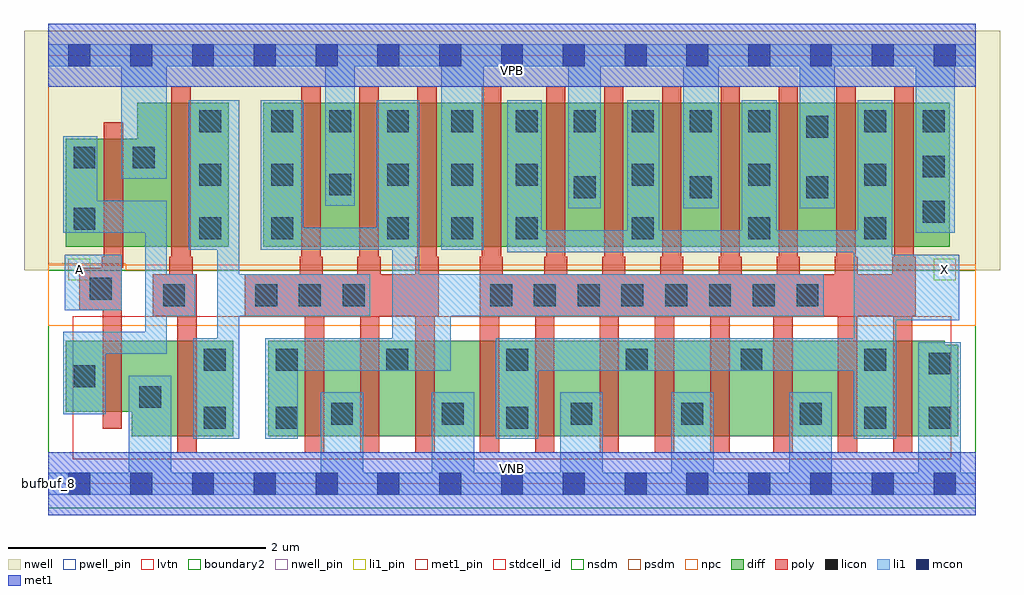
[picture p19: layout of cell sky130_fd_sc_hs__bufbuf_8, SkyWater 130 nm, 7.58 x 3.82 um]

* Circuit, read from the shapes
.subckt sky130_fd_sc_hs__bufbuf_8 A VGND VNB VPB VPWR X
XM1 VGND A n1 VNB sky130_fd_pr__nfet_01v8_lvt w=0.55 l=0.15
XM2 n2 n1 VGND VNB sky130_fd_pr__nfet_01v8_lvt w=0.74 l=0.15
XM3 VGND n2 n3 VNB sky130_fd_pr__nfet_01v8_lvt w=0.74 l=0.15 m=3
XM4 X n3 VGND VNB sky130_fd_pr__nfet_01v8_lvt w=0.74 l=0.15 m=8
XM5 VPWR A n1 VPB sky130_fd_pr__pfet_01v8 w=0.84 l=0.15
XM6 n2 n1 VPWR VPB sky130_fd_pr__pfet_01v8 w=1.12 l=0.15
XM7 VPWR n2 n3 VPB sky130_fd_pr__pfet_01v8 w=1.12 l=0.15 m=3
XM8 X n3 VPWR VPB sky130_fd_pr__pfet_01v8 w=1.12 l=0.15 m=8
.ends

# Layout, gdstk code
import gdstk
lib = gdstk.Library(unit=1e-6, precision=1e-09)
def R(c, l, rs):  # rectangles x0, y0, x1, y1
    for r in rs: c.add(gdstk.rectangle(r[:2], r[2:], *l))
def A(c, l, x, y, w, h, nx, ny, dx, dy):  # array of equal rectangles
    R(c, l, [(x+i*dx, y+j*dy, x+i*dx+w, y+j*dy+h) for i in range(nx) for j in range(ny)])
def P(c, l, *ps):  # polygons
    for p in ps: c.add(gdstk.Polygon(p, *l))
nwell_pin = (64, 16)
nwell = (64, 20)
diff = (65, 20)
poly = (66, 20)
licon = (66, 44)
li1_pin = (67, 16)
li1 = (67, 20)
mcon = (67, 44)
met1_pin = (68, 16)
met1 = (68, 20)
stdcell_id = (81, 4)
nsdm = (93, 44)
psdm = (94, 20)
npc = (95, 20)
pwell_pin = (122, 16)
lvtn = (125, 44)
boundary2 = (236, 0)

sky130_fd_sc_hs__bufbuf_ = lib.new_cell('sky130_fd_sc_hs__bufbuf_8')
R(sky130_fd_sc_hs__bufbuf_, nwell_pin, [(0,3.085,7.2,3.33)])
R(sky130_fd_sc_hs__bufbuf_, nwell, [(-0.19,1.66,7.39,3.52)])
R(sky130_fd_sc_hs__bufbuf_, diff, [(1.67,1.84,7,2.96)])
P(sky130_fd_sc_hs__bufbuf_, diff, [(1.4,2.96),(0.69,2.96),(0.69,2.68),(0.135,2.68),(0.135,1.84),(1.4,1.84)],
  [(1.435,1.11),(0.135,1.11),(0.135,0.56),(0.645,0.56),(0.645,0.37),(1.435,0.37)],
  [(7.065,1.08),(6.96,1.08),(6.96,1.11),(1.705,1.11),(1.705,0.37),(7.065,0.37)])
P(sky130_fd_sc_hs__bufbuf_, poly, [(0.58,2.81),(0.43,2.81),(0.43,1.765),(0.415,1.765),(0.415,1.68),(0.24,1.68),(0.24,1.35),(0.42,1.35),(0.42,0.43),(0.57,0.43),(0.57,1.68),(0.58,1.68)],
  [(1.15,1.63),(1.12,1.63),(1.12,1.765),(1.105,1.765),(1.105,3.09),(0.955,3.09),(0.955,1.765),(0.94,1.765),(0.94,1.63),(0.81,1.63),(0.81,1.3),(1,1.3),(1,0.24),(1.15,0.24)],
  [(3.03,1.765),(3.015,1.765),(3.015,3.09),(2.865,3.09),(2.865,1.765),(2.85,1.765),(2.85,1.63),(2.58,1.63),(2.58,1.765),(2.565,1.765),(2.565,3.09),(2.415,3.09),(2.415,1.765),(2.4,1.765),(2.4,1.63),(2.13,1.63),(2.13,1.765),(2.115,1.765),(2.115,3.09),(1.965,3.09),(1.965,1.765),(1.95,1.765),(1.95,1.63),(1.525,1.63),(1.525,1.3),(1.99,1.3),(1.99,0.24),(2.14,0.24),(2.14,1.3),(2.42,1.3),(2.42,0.24),(2.57,0.24),(2.57,1.3),(2.85,1.3),(2.85,0.24),(3,0.24),(3,1.3),(3.03,1.3)],
  [(6.735,1.765),(6.72,1.765),(6.72,3.09),(6.57,3.09),(6.57,1.765),(6.555,1.765),(6.555,1.63),(6.285,1.63),(6.285,1.765),(6.27,1.765),(6.27,3.09),(6.12,3.09),(6.12,1.765),(6.105,1.765),(6.105,1.63),(5.835,1.63),(5.835,1.765),(5.82,1.765),(5.82,3.09),(5.67,3.09),(5.67,1.765),(5.655,1.765),(5.655,1.63),(5.385,1.63),(5.385,1.765),(5.37,1.765),(5.37,3.09),(5.22,3.09),(5.22,1.765),(5.205,1.765),(5.205,1.63),(4.93,1.63),(4.93,1.765),(4.915,1.765),(4.915,3.09),(4.765,3.09),(4.765,1.765),(4.75,1.765),(4.75,1.63),(4.48,1.63),(4.48,1.765),(4.465,1.765),(4.465,3.09),(4.315,3.09),(4.315,1.765),(4.3,1.765),(4.3,1.63),(4.03,1.63),(4.03,1.765),(4.015,1.765),(4.015,3.09),(3.865,3.09),(3.865,1.765),(3.85,1.765),(3.85,1.63),(3.53,1.63),(3.53,1.765),(3.515,1.765),(3.515,3.09),(3.365,3.09),(3.365,1.765),(3.35,1.765),(3.35,0.24),(3.5,0.24),(3.5,1.3),(3.78,1.3),(3.78,0.24),(3.93,0.24),(3.93,1.3),(4.28,1.3),(4.28,0.24),(4.43,0.24),(4.43,1.3),(4.71,1.3),(4.71,0.24),(4.86,0.24),(4.86,1.3),(5.14,1.3),(5.14,0.24),(5.29,0.24),(5.29,1.3),(5.63,1.3),(5.63,0.24),(5.78,0.24),(5.78,1.3),(6.13,1.3),(6.13,0.24),(6.28,0.24),(6.28,1.3),(6.56,1.3),(6.56,0.24),(6.71,0.24),(6.71,1.3),(6.735,1.3)])
A(sky130_fd_sc_hs__bufbuf_, licon, 2.625, 0.88, 0.17, 0.17, 3, 1, 0.93, 0)
A(sky130_fd_sc_hs__bufbuf_, licon, 1.605, 1.38, 0.17, 0.17, 3, 1, 0.34, 0)
A(sky130_fd_sc_hs__bufbuf_, licon, 3.43, 1.38, 0.17, 0.17, 8, 1, 0.34, 0)
A(sky130_fd_sc_hs__bufbuf_, licon, 1.17, 1.9, 0.17, 0.17, 1, 3, 0, 0.415)
A(sky130_fd_sc_hs__bufbuf_, licon, 2.63, 1.9, 0.17, 0.17, 3, 2, 0.5, 0.415)
A(sky130_fd_sc_hs__bufbuf_, licon, 5.435, 1.9, 0.17, 0.17, 1, 3, 0, 0.415)
A(sky130_fd_sc_hs__bufbuf_, licon, 6.335, 1.9, 0.17, 0.17, 1, 3, 0, 0.415)
A(sky130_fd_sc_hs__bufbuf_, licon, 6.79, 2.03, 0.17, 0.17, 1, 3, 0, 0.35)
A(sky130_fd_sc_hs__bufbuf_, licon, 1.73, 2.73, 0.17, 0.17, 3, 1, 0.45, 0)
A(sky130_fd_sc_hs__bufbuf_, licon, 3.63, 2.73, 0.17, 0.17, 4, 1, 0.45, 0)
R(sky130_fd_sc_hs__bufbuf_, licon, [(1.205,0.43,1.375,0.6), (1.765,0.43,1.935,0.6), (3.555,0.43,3.725,0.6), (6.335,0.43,6.505,0.6), (6.835,0.43,7.005,0.6), (2.195,0.46,2.365,0.63), (3.055,0.46,3.225,0.63), (4.055,0.46,4.225,0.63), (4.915,0.46,5.085,0.63), (5.835,0.46,6.005,0.63), (0.705,0.59,0.875,0.76), (0.195,0.75,0.365,0.92), (6.835,0.85,7.005,1.02), (1.205,0.88,1.375,1.05), (1.765,0.88,1.935,1.05), (5.375,0.88,5.545,1.05), (6.335,0.88,6.505,1.05), (0.89,1.38,1.06,1.55), (0.32,1.43,0.49,1.6), (1.73,1.9,1.9,2.07), (4.53,1.9,4.7,2.07), (0.195,1.975,0.365,2.145), (4.08,2.22,4.25,2.39), (4.98,2.22,5.15,2.39), (5.885,2.22,6.055,2.39), (2.18,2.24,2.35,2.41), (1.73,2.315,1.9,2.485), (4.53,2.315,4.7,2.485), (0.195,2.45,0.365,2.62), (0.655,2.45,0.825,2.62), (5.885,2.69,6.055,2.86), (3.13,2.73,3.3,2.9)])
R(sky130_fd_sc_hs__bufbuf_, li1_pin, [(0.155,1.58,0.325,1.75), (6.875,1.58,7.045,1.75)])
R(sky130_fd_sc_hs__bufbuf_, li1, [(0.125,1.35,0.57,1.78)])
P(sky130_fd_sc_hs__bufbuf_, li1, [(6.735,1.95),(6.735,3.245),(6.105,3.245),(6.105,2.14),(5.835,2.14),(5.835,3.245),(5.205,3.245),(5.205,2.14),(4.93,2.14),(4.93,3.245),(4.29,3.245),(4.29,2.14),(4.035,2.14),(4.035,3.245),(3.38,3.245),(3.38,1.82),(3.05,1.82),(3.05,3.245),(2.38,3.245),(2.38,2.16),(2.15,2.16),(2.15,3.245),(0.92,3.245),(0.92,2.37),(0.565,2.37),(0.565,3.245),(0,3.245),(0,3.415),(7.2,3.415),(7.2,3.245),(7.04,3.245),(7.04,1.95)],
  [(6.755,0.085),(6.755,1.1),(7.085,1.1),(7.085,0.085),(7.2,0.085),(7.2,-0.085),(0,-0.085),(0,0.085),(0.625,0.085),(0.625,0.84),(0.955,0.84),(0.955,0.085),(2.115,0.085),(2.115,0.71),(2.445,0.71),(2.445,0.085),(2.975,0.085),(2.975,0.71),(3.305,0.71),(3.305,0.085),(3.975,0.085),(3.975,0.71),(4.305,0.71),(4.305,0.085),(4.835,0.085),(4.835,0.71),(5.165,0.71),(5.165,0.085),(5.755,0.085),(5.755,0.71),(6.085,0.71),(6.085,0.085)],
  [(1.48,1.63),(2.5,1.63),(2.5,1.3),(1.48,1.3),(1.48,0.35),(1.125,0.35),(1.125,1.13),(1.31,1.13),(1.31,1.82),(1.09,1.82),(1.09,2.98),(1.48,2.98)],
  [(7.075,1.27),(6.585,1.27),(6.585,0.35),(6.255,0.35),(6.255,0.88),(3.805,0.88),(3.805,0.35),(3.475,0.35),(3.475,1.13),(6.255,1.13),(6.255,1.8),(3.565,1.8),(3.565,2.98),(3.83,2.98),(3.83,1.97),(4.495,1.97),(4.495,2.98),(4.745,2.98),(4.745,1.97),(5.385,1.97),(5.385,2.98),(5.655,2.98),(5.655,1.97),(6.285,1.97),(6.285,2.98),(6.555,2.98),(6.555,1.78),(7.075,1.78)],
  [(1.685,0.35),(1.685,1.13),(2.67,1.13),(2.67,1.82),(1.65,1.82),(1.65,2.98),(1.98,2.98),(1.98,1.99),(2.55,1.99),(2.55,2.98),(2.88,2.98),(2.88,1.63),(6.02,1.63),(6.02,1.3),(3.125,1.3),(3.125,0.88),(1.935,0.88),(1.935,0.35)],
  [(1.14,1.63),(0.92,1.63),(0.92,2.2),(0.38,2.2),(0.38,2.7),(0.115,2.7),(0.115,1.95),(0.75,1.95),(0.75,1.18),(0.115,1.18),(0.115,0.54),(0.445,0.54),(0.445,1.01),(0.92,1.01),(0.92,1.3),(1.14,1.3)])
A(sky130_fd_sc_hs__bufbuf_, mcon, 0.155, -0.085, 0.17, 0.17, 15, 2, 0.48, 3.33)
R(sky130_fd_sc_hs__bufbuf_, met1_pin, [(0,0,7.2,0.245), (0,3.085,7.2,3.33)])
R(sky130_fd_sc_hs__bufbuf_, met1, [(0,-0.245,7.2,0.245), (0,3.085,7.2,3.575)])
R(sky130_fd_sc_hs__bufbuf_, stdcell_id, [(0,0,7.2,3.33)])
R(sky130_fd_sc_hs__bufbuf_, nsdm, [(0,-0.19,7.2,1.66)])
P(sky130_fd_sc_hs__bufbuf_, psdm, [(7.2,3.52),(0,3.52),(0,1.71),(0.6,1.71),(0.6,1.66),(7.2,1.66)])
R(sky130_fd_sc_hs__bufbuf_, npc, [(0,1.23,7.2,1.7)])
R(sky130_fd_sc_hs__bufbuf_, pwell_pin, [(0,0,7.2,0.245)])
R(sky130_fd_sc_hs__bufbuf_, lvtn, [(0.19,0.19,7.01,1.3)])
R(sky130_fd_sc_hs__bufbuf_, boundary2, [(0,0,7.2,3.33)])
sky130_fd_sc_hs__bufbuf_.add(gdstk.Label('bufbuf_8', (0,0), layer=83, texttype=44))
sky130_fd_sc_hs__bufbuf_.add(gdstk.Label('VNB', (3.6,0.123), layer=64, texttype=59))
sky130_fd_sc_hs__bufbuf_.add(gdstk.Label('VPB', (3.6,3.208), layer=64, texttype=5))
sky130_fd_sc_hs__bufbuf_.add(gdstk.Label('VPWR', (3.6,3.208), layer=68, texttype=5))
sky130_fd_sc_hs__bufbuf_.add(gdstk.Label('VGND', (3.6,0.123), layer=68, texttype=5))
sky130_fd_sc_hs__bufbuf_.add(gdstk.Label('A', (0.24,1.665), layer=67, texttype=5))
sky130_fd_sc_hs__bufbuf_.add(gdstk.Label('X', (6.96,1.665), layer=67, texttype=5))

lib.write_gds('sky130_fd_sc_hs__bufbuf_8.gds')
